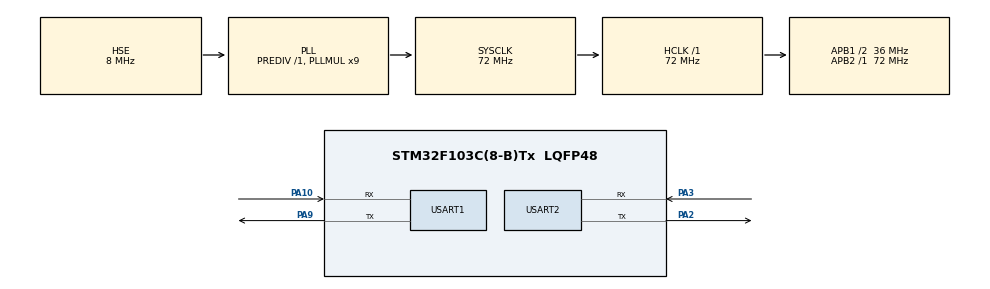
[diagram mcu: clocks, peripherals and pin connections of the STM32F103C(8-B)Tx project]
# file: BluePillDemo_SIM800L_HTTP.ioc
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Dma.Request0=USART1_TX
Dma.Request1=USART1_RX
Dma.USART1_RX.1.Direction=DMA_PERIPH_TO_MEMORY
Dma.USART1_RX.1.Instance=DMA1_Channel5
Dma.USART1_RX.1.MemDataAlignment=DMA_MDATAALIGN_BYTE
Dma.USART1_RX.1.MemInc=DMA_MINC_ENABLE
Dma.USART1_RX.1.Mode=DMA_CIRCULAR
Dma.USART1_RX.1.PeriphDataAlignment=DMA_PDATAALIGN_BYTE
Dma.USART1_RX.1.PeriphInc=DMA_PINC_DISABLE
Dma.USART1_RX.1.Priority=DMA_PRIORITY_VERY_HIGH
Dma.USART1_TX.0.Direction=DMA_MEMORY_TO_PERIPH
Dma.USART1_TX.0.Instance=DMA1_Channel4
Dma.USART1_TX.0.MemDataAlignment=DMA_MDATAALIGN_BYTE
Dma.USART1_TX.0.MemInc=DMA_MINC_ENABLE
Dma.USART1_TX.0.Mode=DMA_NORMAL
Dma.USART1_TX.0.PeriphDataAlignment=DMA_PDATAALIGN_BYTE
Dma.USART1_TX.0.PeriphInc=DMA_PINC_DISABLE
Dma.USART1_TX.0.Priority=DMA_PRIORITY_VERY_HIGH
Mcu.Family=STM32F1
Mcu.Name=STM32F103C(8-B)Tx
Mcu.Package=LQFP48
NVIC.DMA1_Channel4_IRQn=true\:0\:0\:false\:false\:true\:false\:true
NVIC.DMA1_Channel5_IRQn=true\:0\:0\:false\:false\:true\:false\:true
NVIC.PriorityGroup=NVIC_PRIORITYGROUP_4
NVIC.USART1_IRQn=true\:0\:0\:false\:false\:true\:true\:true
PA10.Mode=Asynchronous
PA10.Signal=USART1_RX
PA13.Mode=Serial_Wire
PA13.Signal=SYS_JTMS-SWDIO
PA14.Mode=Serial_Wire
PA14.Signal=SYS_JTCK-SWCLK
PA2.Mode=Asynchronous
PA2.Signal=USART2_TX
PA3.Mode=Asynchronous
PA3.Signal=USART2_RX
PA9.Mode=Asynchronous
PA9.Signal=USART1_TX
PC14-OSC32_IN.Mode=LSE-External-Oscillator
PC14-OSC32_IN.Signal=RCC_OSC32_IN
PC15-OSC32_OUT.Mode=LSE-External-Oscillator
PC15-OSC32_OUT.Signal=RCC_OSC32_OUT
PD0-OSC_IN.Mode=HSE-External-Oscillator
PD0-OSC_IN.Signal=RCC_OSC_IN
PD1-OSC_OUT.Mode=HSE-External-Oscillator
PD1-OSC_OUT.Signal=RCC_OSC_OUT
ProjectManager.HeapSize=0x200
ProjectManager.StackSize=0x400
ProjectManager.TargetToolchain=STM32CubeIDE
RCC.AHBFreq_Value=72000000
RCC.APB1CLKDivider=RCC_HCLK_DIV2
RCC.APB1Freq_Value=36000000
RCC.APB1TimFreq_Value=72000000
RCC.APB2Freq_Value=72000000
RCC.APB2TimFreq_Value=72000000
RCC.HCLKFreq_Value=72000000
RCC.PLLMUL=RCC_PLL_MUL9
RCC.PLLSourceVirtual=RCC_PLLSOURCE_HSE
RCC.SYSCLKFreq_VALUE=72000000
RCC.SYSCLKSource=RCC_SYSCLKSOURCE_PLLCLK
RCC.USBFreq_Value=72000000
USART1.VirtualMode=VM_ASYNC
USART2.VirtualMode=VM_ASYNC
board=custom

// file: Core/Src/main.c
/* USER CODE BEGIN Header */
/**
  ******************************************************************************
  * @file           : main.c
  * @brief          : Main program body
  ******************************************************************************
  * @attention
  *
  * <h2><center>&copy; Copyright (c) 2020 STMicroelectronics.
  * All rights reserved.</center></h2>
  *
  * This software component is licensed by ST under BSD 3-Clause license,
  * the "License"; You may not use this file except in compliance with the
  * License. You may obtain a copy of the License at:
  *                        opensource.org/licenses/BSD-3-Clause
  *
  ******************************************************************************
  */
/* USER CODE END Header */

#include "main.h"

/* USER CODE BEGIN Includes */
#include <stdbool.h>
#include <string.h>
#include <stdlib.h>
#include "buffered_serial.h"
#include "modem.h"

/* USER CODE END Includes */

/* USER CODE BEGIN PD */
#define ACCESS_POINT_NAME		"everywhere"
#define USER_NAME				"eesecure"
#define PASSWORD				"secure"

/* USER CODE END PD */

UART_HandleTypeDef huart1;
UART_HandleTypeDef huart2;
DMA_HandleTypeDef hdma_usart1_tx;
DMA_HandleTypeDef hdma_usart1_rx;

void SystemClock_Config(void);
static void MX_GPIO_Init(void);
static void MX_DMA_Init(void);
static void MX_USART1_UART_Init(void);
static void MX_USART2_UART_Init(void);

int main(void)
{
  /* USER CODE BEGIN 1 */
  ModemStatus_t status;
  uint8_t signal_strength;
  bool registered;
  uint16_t httpResponseCode;
  uint16_t responseLength;

  /* USER CODE END 1 */

  /* MCU Configuration--------------------------------------------------------*/

  /* Reset of all peripherals, Initializes the Flash interface and the Systick. */
  HAL_Init();

  /* Configure the system clock */
  SystemClock_Config();

  /* Initialize all configured peripherals */
  MX_GPIO_Init();
  MX_DMA_Init();
  MX_USART1_UART_Init();
  MX_USART2_UART_Init();
  /* USER CODE BEGIN 2 */
  HAL_UART_Transmit(&huart2, (uint8_t *)"HTTP test\r\n", 11U, 100U);

  serial_init();
  status = ModemInit();
  status = ModemHello();
  status = ModemDisableNewSMSNotification();
  status = ModemGetSignalStrength(&signal_strength);
  status = ModemGetNetworkRegistrationStatus(&registered);
  status = ModemHttpInit(ACCESS_POINT_NAME, USER_NAME, PASSWORD);
  status = ModemHttpSendURL("http://www.exploreembedded.com/wiki/images/1/15/Hello.txt");
  status = ModemHttpSendAction(HTTP_GET, &httpResponseCode, &responseLength);

  // check http response code for ok response
  if (httpResponseCode == 200U)
  {
	  // response ok
	  uint8_t *responseBuffer = malloc(responseLength);
	  status = ModemHttpReadResponse(0U, responseLength, responseBuffer);
	  HAL_UART_Transmit(&huart2, responseBuffer, responseLength, 100U);
	  free(responseBuffer);
  }
  status = ModemHttpClose();

  (void)status;

  /* USER CODE END 2 */

  /* Infinite loop */
  while (1)
  {

  }
}

void SystemClock_Config(void)
{
  RCC_OscInitTypeDef RCC_OscInitStruct = {0};
  RCC_ClkInitTypeDef RCC_ClkInitStruct = {0};

  /** Initializes the CPU, AHB and APB busses clocks
  */
  RCC_OscInitStruct.OscillatorType = RCC_OSCILLATORTYPE_HSE;
  RCC_OscInitStruct.HSEState = RCC_HSE_ON;
  RCC_OscInitStruct.HSEPredivValue = RCC_HSE_PREDIV_DIV1;
  RCC_OscInitStruct.HSIState = RCC_HSI_ON;
  RCC_OscInitStruct.PLL.PLLState = RCC_PLL_ON;
  RCC_OscInitStruct.PLL.PLLSource = RCC_PLLSOURCE_HSE;
  RCC_OscInitStruct.PLL.PLLMUL = RCC_PLL_MUL9;
  if (HAL_RCC_OscConfig(&RCC_OscInitStruct) != HAL_OK)
  {
    Error_Handler();
  }
  /** Initializes the CPU, AHB and APB busses clocks
  */
  RCC_ClkInitStruct.ClockType = RCC_CLOCKTYPE_HCLK|RCC_CLOCKTYPE_SYSCLK
                              |RCC_CLOCKTYPE_PCLK1|RCC_CLOCKTYPE_PCLK2;
  RCC_ClkInitStruct.SYSCLKSource = RCC_SYSCLKSOURCE_PLLCLK;
  RCC_ClkInitStruct.AHBCLKDivider = RCC_SYSCLK_DIV1;
  RCC_ClkInitStruct.APB1CLKDivider = RCC_HCLK_DIV2;
  RCC_ClkInitStruct.APB2CLKDivider = RCC_HCLK_DIV1;

  if (HAL_RCC_ClockConfig(&RCC_ClkInitStruct, FLASH_LATENCY_2) != HAL_OK)
  {
    Error_Handler();
  }
}

static void MX_USART1_UART_Init(void)
{

  huart1.Instance = USART1;
  huart1.Init.BaudRate = 115200;
  huart1.Init.WordLength = UART_WORDLENGTH_8B;
  huart1.Init.StopBits = UART_STOPBITS_1;
  huart1.Init.Parity = UART_PARITY_NONE;
  huart1.Init.Mode = UART_MODE_TX_RX;
  huart1.Init.HwFlowCtl = UART_HWCONTROL_NONE;
  huart1.Init.OverSampling = UART_OVERSAMPLING_16;
  if (HAL_UART_Init(&huart1) != HAL_OK)
  {
    Error_Handler();
  }

}

static void MX_USART2_UART_Init(void)
{

  huart2.Instance = USART2;
  huart2.Init.BaudRate = 115200;
  huart2.Init.WordLength = UART_WORDLENGTH_8B;
  huart2.Init.StopBits = UART_STOPBITS_1;
  huart2.Init.Parity = UART_PARITY_NONE;
  huart2.Init.Mode = UART_MODE_TX_RX;
  huart2.Init.HwFlowCtl = UART_HWCONTROL_NONE;
  huart2.Init.OverSampling = UART_OVERSAMPLING_16;
  if (HAL_UART_Init(&huart2) != HAL_OK)
  {
    Error_Handler();
  }

}

static void MX_DMA_Init(void)
{

  /* DMA controller clock enable */
  __HAL_RCC_DMA1_CLK_ENABLE();

  /* DMA interrupt init */
  /* DMA1_Channel4_IRQn interrupt configuration */
  HAL_NVIC_SetPriority(DMA1_Channel4_IRQn, 0, 0);
  HAL_NVIC_EnableIRQ(DMA1_Channel4_IRQn);
  /* DMA1_Channel5_IRQn interrupt configuration */
  HAL_NVIC_SetPriority(DMA1_Channel5_IRQn, 0, 0);
  HAL_NVIC_EnableIRQ(DMA1_Channel5_IRQn);

}

static void MX_GPIO_Init(void)
{

  /* GPIO Ports Clock Enable */
  __HAL_RCC_GPIOC_CLK_ENABLE();
  __HAL_RCC_GPIOD_CLK_ENABLE();
  __HAL_RCC_GPIOA_CLK_ENABLE();

}

void Error_Handler(void)
{
}

/************************ (C) COPYRIGHT STMicroelectronics *****END OF FILE****/
